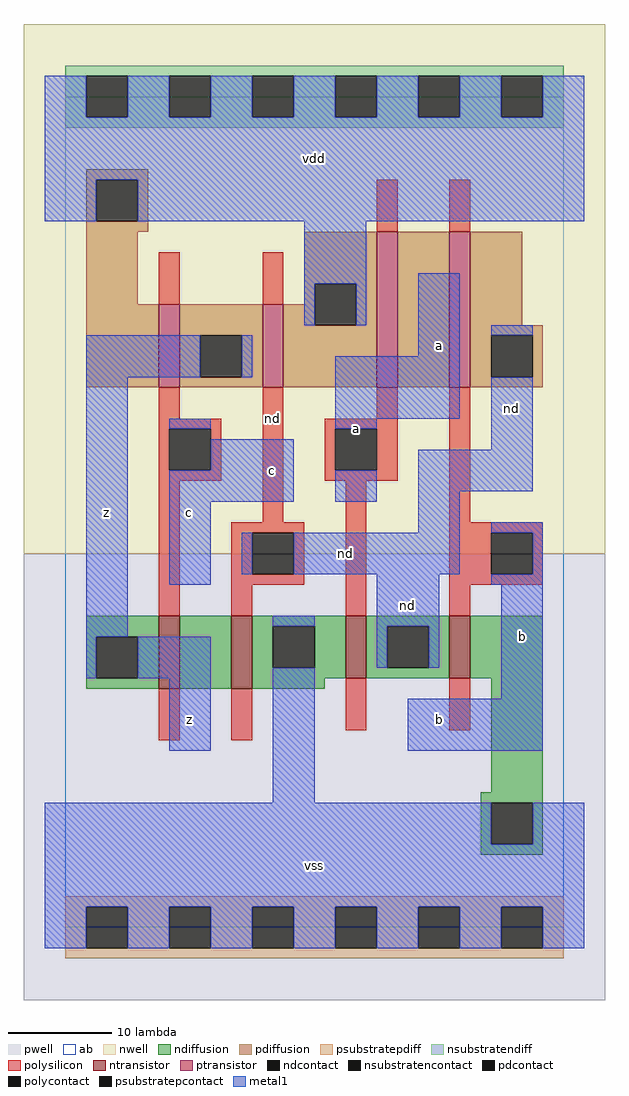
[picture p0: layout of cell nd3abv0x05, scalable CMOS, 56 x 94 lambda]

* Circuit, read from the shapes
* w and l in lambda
.subckt nd3abv0x05 a b c nd vdd vss z
M1 n1 c z vss nfet w=7 l=2
M2 vss nd n1 vss nfet w=7 l=2
M3 nd a vss vss nfet w=6 l=2
M4 vss b nd vss nfet w=6 l=2
M5 z c vdd vdd pfet w=8 l=2
M6 vdd nd z vdd pfet w=8 l=2
M7 n2 a vdd vdd pfet w=15 l=2
M8 nd b n2 vdd pfet w=15 l=2
.ends

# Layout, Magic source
magic
tech scmos
<< ab >>
rect 0 0 48 80
<< pwell >>
rect -4 -7 52 36
<< nwell >>
rect -4 36 52 87
<< polysilicon >>
rect 30 67 32 72
rect 37 67 39 72
rect 9 60 11 65
rect 19 60 21 65
rect 9 49 11 52
rect 9 48 15 49
rect 9 44 10 48
rect 14 44 15 48
rect 9 43 15 44
rect 9 30 11 43
rect 19 39 21 52
rect 30 49 32 52
rect 25 48 32 49
rect 25 44 26 48
rect 30 44 32 48
rect 25 43 32 44
rect 16 38 23 39
rect 16 34 18 38
rect 22 34 23 38
rect 16 33 23 34
rect 16 30 18 33
rect 27 30 29 43
rect 37 39 39 52
rect 37 38 46 39
rect 37 34 41 38
rect 45 34 46 38
rect 37 33 46 34
rect 37 30 39 33
rect 9 18 11 23
rect 16 18 18 23
rect 27 19 29 24
rect 37 19 39 24
<< ndiffusion >>
rect 2 28 9 30
rect 2 24 3 28
rect 7 24 9 28
rect 2 23 9 24
rect 11 23 16 30
rect 18 29 27 30
rect 18 25 20 29
rect 24 25 27 29
rect 18 24 27 25
rect 29 29 37 30
rect 29 25 31 29
rect 35 25 37 29
rect 29 24 37 25
rect 39 24 46 30
rect 18 23 25 24
rect 41 13 46 24
rect 40 12 46 13
rect 40 8 41 12
rect 45 8 46 12
rect 40 7 46 8
<< pdiffusion >>
rect 2 72 8 73
rect 2 68 3 72
rect 7 68 8 72
rect 2 67 8 68
rect 2 60 7 67
rect 23 62 30 67
rect 23 60 24 62
rect 2 52 9 60
rect 11 57 19 60
rect 11 53 13 57
rect 17 53 19 57
rect 11 52 19 53
rect 21 58 24 60
rect 28 58 30 62
rect 21 52 30 58
rect 32 52 37 67
rect 39 58 44 67
rect 39 57 46 58
rect 39 53 41 57
rect 45 53 46 57
rect 39 52 46 53
<< metal1 >>
rect -2 78 2 82
rect 6 78 10 82
rect 14 78 18 82
rect 22 78 26 82
rect 30 78 34 82
rect 38 78 42 82
rect 46 78 50 82
rect -2 72 50 78
rect -2 68 3 72
rect 7 68 50 72
rect 23 62 29 68
rect 23 58 24 62
rect 28 58 29 62
rect 2 53 13 57
rect 17 53 18 57
rect 34 55 38 63
rect 2 28 6 53
rect 26 49 38 55
rect 41 57 45 58
rect 10 48 14 49
rect 26 48 30 49
rect 14 44 22 47
rect 10 41 22 44
rect 41 46 45 53
rect 26 41 30 44
rect 34 42 45 46
rect 10 33 14 41
rect 34 38 38 42
rect 17 34 18 38
rect 22 34 38 38
rect 41 38 46 39
rect 45 34 46 38
rect 20 29 24 30
rect 2 24 3 28
rect 7 24 14 28
rect 10 17 14 24
rect 30 29 36 34
rect 41 33 46 34
rect 30 25 31 29
rect 35 25 36 29
rect 20 12 24 25
rect 42 22 46 33
rect 33 17 46 22
rect -2 8 41 12
rect 45 8 50 12
rect -2 2 50 8
rect -2 -2 2 2
rect 6 -2 10 2
rect 14 -2 18 2
rect 22 -2 26 2
rect 30 -2 34 2
rect 38 -2 42 2
rect 46 -2 50 2
<< ntransistor >>
rect 9 23 11 30
rect 16 23 18 30
rect 27 24 29 30
rect 37 24 39 30
<< ptransistor >>
rect 9 52 11 60
rect 19 52 21 60
rect 30 52 32 67
rect 37 52 39 67
<< polycontact >>
rect 10 44 14 48
rect 26 44 30 48
rect 18 34 22 38
rect 41 34 45 38
<< ndcontact >>
rect 3 24 7 28
rect 20 25 24 29
rect 31 25 35 29
rect 41 8 45 12
<< pdcontact >>
rect 3 68 7 72
rect 13 53 17 57
rect 24 58 28 62
rect 41 53 45 57
<< psubstratepcontact >>
rect 2 -2 6 2
rect 10 -2 14 2
rect 18 -2 22 2
rect 26 -2 30 2
rect 34 -2 38 2
rect 42 -2 46 2
<< nsubstratencontact >>
rect 2 78 6 82
rect 10 78 14 82
rect 18 78 22 82
rect 26 78 30 82
rect 34 78 38 82
rect 42 78 46 82
<< psubstratepdiff >>
rect 0 2 48 3
rect 0 -2 2 2
rect 6 -2 10 2
rect 14 -2 18 2
rect 22 -2 26 2
rect 30 -2 34 2
rect 38 -2 42 2
rect 46 -2 48 2
rect 0 -3 48 -2
<< nsubstratendiff >>
rect 0 82 48 83
rect 0 78 2 82
rect 6 78 10 82
rect 14 78 18 82
rect 22 78 26 82
rect 30 78 34 82
rect 38 78 42 82
rect 46 78 48 82
rect 0 77 48 78
<< labels >>
rlabel polysilicon 20 49 20 49 6 nd
rlabel metal1 4 40 4 40 6 z
rlabel metal1 12 20 12 20 6 z
rlabel metal1 20 44 20 44 6 c
rlabel metal1 12 40 12 40 6 c
rlabel metal1 24 6 24 6 6 vss
rlabel metal1 33 31 33 31 6 nd
rlabel metal1 28 48 28 48 6 a
rlabel metal1 24 74 24 74 6 vdd
rlabel metal1 36 20 36 20 6 b
rlabel metal1 27 36 27 36 6 nd
rlabel metal1 44 28 44 28 6 b
rlabel metal1 43 50 43 50 6 nd
rlabel metal1 36 56 36 56 6 a
<< end >>
